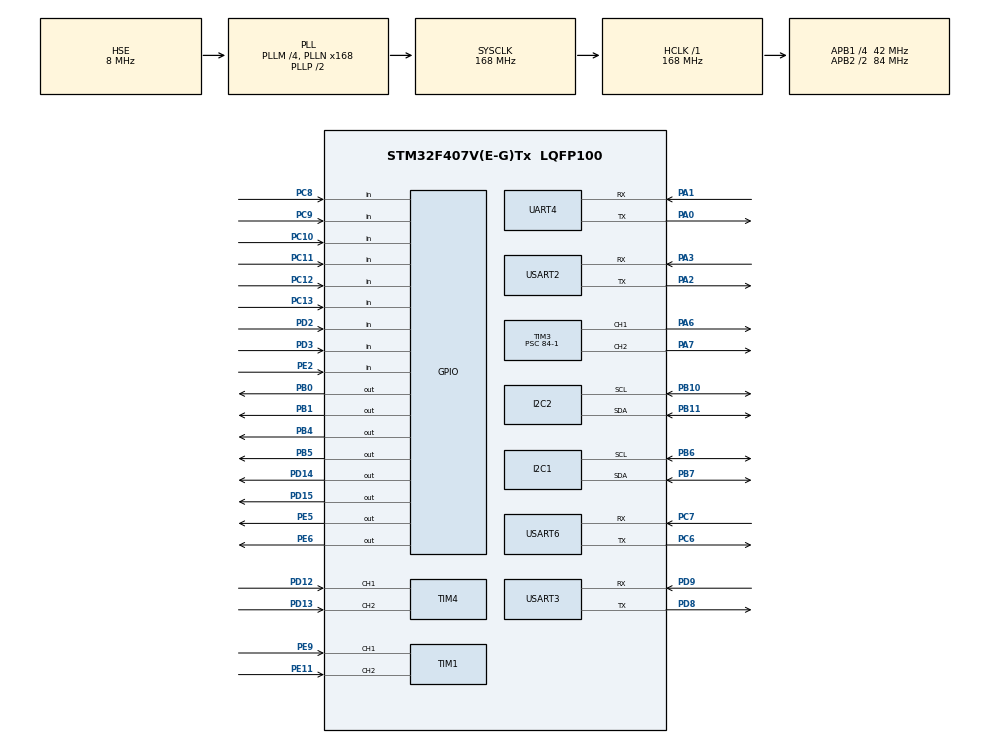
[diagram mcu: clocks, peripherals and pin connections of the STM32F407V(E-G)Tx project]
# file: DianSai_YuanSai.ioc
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I2C1.I2C_Mode=I2C_Standard
Mcu.Family=STM32F4
Mcu.Name=STM32F407V(E-G)Tx
Mcu.Package=LQFP100
NVIC.PriorityGroup=NVIC_PRIORITYGROUP_4
NVIC.TIM2_IRQn=true\:0\:0\:false\:false\:true\:true\:true\:true
PA0-WKUP.Mode=Asynchronous
PA0-WKUP.Signal=UART4_TX
PA1.Mode=Asynchronous
PA1.Signal=UART4_RX
PA13.Mode=Serial_Wire
PA13.Signal=SYS_JTMS-SWDIO
PA14.Mode=Serial_Wire
PA14.Signal=SYS_JTCK-SWCLK
PA2.Mode=Asynchronous
PA2.Signal=USART2_TX
PA3.Mode=Asynchronous
PA3.Signal=USART2_RX
PA6.GPIO_ModeDefaultPP=GPIO_MODE_AF_PP
PA6.GPIO_PuPd=GPIO_PULLUP
PA6.GPIO_Speed=GPIO_SPEED_FREQ_VERY_HIGH
PA6.Signal=S_TIM3_CH1
PA7.GPIO_ModeDefaultPP=GPIO_MODE_AF_PP
PA7.GPIO_PuPd=GPIO_PULLUP
PA7.GPIO_Speed=GPIO_SPEED_FREQ_VERY_HIGH
PA7.Signal=S_TIM3_CH2
PB0.GPIO_ModeDefaultOutputPP=GPIO_MODE_OUTPUT_PP
PB0.GPIO_PuPd=GPIO_NOPULL
PB0.GPIO_Speed=GPIO_SPEED_FREQ_LOW
PB0.PinState=GPIO_PIN_RESET
PB0.Signal=GPIO_Output
PB1.GPIO_ModeDefaultOutputPP=GPIO_MODE_OUTPUT_PP
PB1.GPIO_PuPd=GPIO_NOPULL
PB1.GPIO_Speed=GPIO_SPEED_FREQ_LOW
PB1.PinState=GPIO_PIN_RESET
PB1.Signal=GPIO_Output
PB10.GPIO_Mode=GPIO_MODE_AF_OD
PB10.GPIO_Pu=GPIO_PULLUP
PB10.GPIO_Speed=GPIO_SPEED_FREQ_HIGH
PB10.Mode=I2C
PB10.Signal=I2C2_SCL
PB11.GPIO_Mode=GPIO_MODE_AF_OD
PB11.GPIO_Pu=GPIO_PULLUP
PB11.GPIO_Speed=GPIO_SPEED_FREQ_HIGH
PB11.Mode=I2C
PB11.Signal=I2C2_SDA
PB4.GPIO_ModeDefaultOutputPP=GPIO_MODE_OUTPUT_PP
PB4.GPIO_PuPd=GPIO_NOPULL
PB4.GPIO_Speed=GPIO_SPEED_FREQ_LOW
PB4.PinState=GPIO_PIN_RESET
PB4.Signal=GPIO_Output
PB5.GPIO_ModeDefaultOutputPP=GPIO_MODE_OUTPUT_PP
PB5.GPIO_PuPd=GPIO_NOPULL
PB5.GPIO_Speed=GPIO_SPEED_FREQ_LOW
PB5.PinState=GPIO_PIN_RESET
PB5.Signal=GPIO_Output
PB6.GPIO_Mode=GPIO_MODE_AF_OD
PB6.GPIO_Pu=GPIO_PULLUP
PB6.GPIO_Speed=GPIO_SPEED_FREQ_HIGH
PB6.Mode=I2C
PB6.Signal=I2C1_SCL
PB7.GPIO_Mode=GPIO_MODE_AF_OD
PB7.GPIO_Pu=GPIO_PULLUP
PB7.GPIO_Speed=GPIO_SPEED_FREQ_HIGH
PB7.Mode=I2C
PB7.Signal=I2C1_SDA
PC10.GPIO_Mode=GPIO_MODE_INPUT
PC10.GPIO_PuPd=GPIO_PULLUP
PC10.Signal=GPIO_Input
PC11.GPIO_Mode=GPIO_MODE_INPUT
PC11.GPIO_PuPd=GPIO_PULLUP
PC11.Signal=GPIO_Input
PC12.GPIO_Mode=GPIO_MODE_INPUT
PC12.GPIO_PuPd=GPIO_PULLUP
PC12.Signal=GPIO_Input
PC13-ANTI_TAMP.GPIO_Mode=GPIO_MODE_INPUT
PC13-ANTI_TAMP.GPIO_PuPd=GPIO_PULLUP
PC13-ANTI_TAMP.Signal=GPIO_Input
PC14-OSC32_IN.Mode=LSE-External-Oscillator
PC14-OSC32_IN.Signal=RCC_OSC32_IN
PC15-OSC32_OUT.Mode=LSE-External-Oscillator
PC15-OSC32_OUT.Signal=RCC_OSC32_OUT
PC6.Mode=Asynchronous
PC6.Signal=USART6_TX
PC7.Mode=Asynchronous
PC7.Signal=USART6_RX
PC8.GPIO_Mode=GPIO_MODE_INPUT
PC8.GPIO_PuPd=GPIO_PULLUP
PC8.Signal=GPIO_Input
PC9.GPIO_Mode=GPIO_MODE_INPUT
PC9.GPIO_PuPd=GPIO_PULLUP
PC9.Signal=GPIO_Input
PD12.GPIO_ModeDefaultPP=GPIO_MODE_AF_PP
PD12.GPIO_PuPd=GPIO_PULLUP
PD12.GPIO_Speed=GPIO_SPEED_FREQ_VERY_HIGH
PD12.Signal=S_TIM4_CH1
PD13.GPIO_ModeDefaultPP=GPIO_MODE_AF_PP
PD13.GPIO_PuPd=GPIO_PULLUP
PD13.GPIO_Speed=GPIO_SPEED_FREQ_VERY_HIGH
PD13.Signal=S_TIM4_CH2
PD14.Signal=GPIO_Output
PD15.Signal=GPIO_Output
PD2.GPIO_Mode=GPIO_MODE_INPUT
PD2.GPIO_PuPd=GPIO_PULLUP
PD2.Signal=GPIO_Input
PD3.GPIO_Mode=GPIO_MODE_INPUT
PD3.GPIO_PuPd=GPIO_PULLUP
PD3.Signal=GPIO_Input
PD8.Mode=Asynchronous
PD8.Signal=USART3_TX
PD9.Mode=Asynchronous
PD9.Signal=USART3_RX
PE11.GPIO_ModeDefaultPP=GPIO_MODE_AF_PP
PE11.GPIO_PuPd=GPIO_PULLUP
PE11.GPIO_Speed=GPIO_SPEED_FREQ_VERY_HIGH
PE11.Signal=S_TIM1_CH2
PE2.GPIO_PuPd=GPIO_PULLUP
PE2.Signal=GPIO_Input
PE5.Signal=GPIO_Output
PE6.Signal=GPIO_Output
PE9.GPIO_ModeDefaultPP=GPIO_MODE_AF_PP
PE9.GPIO_PuPd=GPIO_PULLUP
PE9.GPIO_Speed=GPIO_SPEED_FREQ_VERY_HIGH
PE9.Signal=S_TIM1_CH1
PH0-OSC_IN.Mode=HSE-External-Oscillator
PH0-OSC_IN.Signal=RCC_OSC_IN
PH1-OSC_OUT.Mode=HSE-External-Oscillator
PH1-OSC_OUT.Signal=RCC_OSC_OUT
ProjectManager.HeapSize=0x200
ProjectManager.StackSize=0x400
ProjectManager.TargetToolchain=MDK-ARM V5.32
RCC.48MHZClocksFreq_Value=84000000
RCC.AHBFreq_Value=168000000
RCC.APB1CLKDivider=RCC_HCLK_DIV4
RCC.APB1Freq_Value=42000000
RCC.APB1TimFreq_Value=84000000
RCC.APB2CLKDivider=RCC_HCLK_DIV2
RCC.APB2Freq_Value=84000000
RCC.APB2TimFreq_Value=168000000
RCC.CortexFreq_Value=168000000
RCC.HCLKFreq_Value=168000000
RCC.HSE_VALUE=8000000
RCC.HSI_VALUE=16000000
RCC.PLLM=4
RCC.PLLN=168
RCC.PLLSourceVirtual=RCC_PLLSOURCE_HSE
RCC.SYSCLKFreq_VALUE=168000000
RCC.SYSCLKSource=RCC_SYSCLKSOURCE_PLLCLK
RCC.VCOOutputFreq_Value=336000000
SH.S_TIM1_CH1.0=TIM1_CH1,Encoder_Interface
SH.S_TIM1_CH2.0=TIM1_CH2,Encoder_Interface
SH.S_TIM3_CH1.0=TIM3_CH1,PWM Generation1 CH1
SH.S_TIM3_CH2.0=TIM3_CH2,PWM Generation2 CH2
SH.S_TIM4_CH1.0=TIM4_CH1,Encoder_Interface
SH.S_TIM4_CH2.0=TIM4_CH2,Encoder_Interface
TIM1.EncoderMode=TIM_ENCODERMODE_TI12
TIM2.Period=50-1
TIM2.Prescaler=8400-1
TIM3.Channel-PWM\ Generation1\ CH1=TIM_CHANNEL_1
TIM3.Channel-PWM\ Generation2\ CH2=TIM_CHANNEL_2
TIM3.Period=1000-1
TIM3.Prescaler=84-1
TIM4.EncoderMode=TIM_ENCODERMODE_TI12
UART4.VirtualMode=Asynchronous
USART2.VirtualMode=VM_ASYNC
USART3.VirtualMode=VM_ASYNC
USART6.VirtualMode=VM_ASYNC
VP_TIM2_VS_ClockSourceINT.Mode=Internal
VP_TIM3_VS_ClockSourceINT.Mode=Internal
board=custom

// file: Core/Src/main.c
/* USER CODE BEGIN Header */
/**
  ******************************************************************************
  * @file           : main.c
  * @brief          : Main program body
  ******************************************************************************
  * @attention
  *
  * Copyright (c) 2026 STMicroelectronics.
  * All rights reserved.
  *
  * This software is licensed under terms that can be found in the LICENSE file
  * in the root directory of this software component.
  * If no LICENSE file comes with this software, it is provided AS-IS.
  *
  ******************************************************************************
  */
/* USER CODE END Header */
#include "main.h"
#include "i2c.h"
#include "tim.h"
#include "usart.h"
#include "gpio.h"

/* USER CODE BEGIN Includes */
#include "headfile.h"
/* USER CODE END Includes */

/* USER CODE BEGIN PD */

/* 调试开关：下面几个测试宏全为0时，运行正常比赛赛道模式。 */
#define TEST_TARGET_YAW 100.0f          /* ANGLE_HOLD_TEST使用的目标角度 */
#define GY87_DATA_DEBUG_TEST 0          /* 1=只显示GY87姿态/磁力计调试数据 */
#define ANGLE_HOLD_TEST 0               /* 1=角度环定点测试 */
#define MOTOR_PID_DEBUG_TEST 0          /* 1=电机PID阶跃测试 */
#define MOTOR_PID_DEBUG_STEP_TICKS 400U /* 电机PID测试每个目标保持周期 */
#define MOTOR_DIRECT_TEST 0             /* 1=绕过赛道状态机，直接给左右轮速度 */
#define MOTOR_DIRECT_SPEED_A 8.0f       /* MOTOR_DIRECT_TEST左轮速度 */
#define MOTOR_DIRECT_SPEED_B 8.0f       /* MOTOR_DIRECT_TEST右轮速度 */

/* USER CODE END PD */

/* USER CODE BEGIN PV */
volatile int16_t Speed = 20;	//编码器测速测试变量
	  static uint8_t test_cnt = 0;
volatile uint8_t Debug_Print_Flag = 0;
volatile int16_t Location = 0;
uint16_t Temp = 0;
uint8_t Key_Status = 0;
#if MOTOR_PID_DEBUG_TEST
static uint16_t MotorPidDebugCnt = 0;
static uint8_t MotorPidDebugIndex = 0;
static const float MotorPidDebugTargets[4][2] =
{
	{8.0f, 0.0f},
	{0.0f, 8.0f},
	{14.0f, 14.0f},
	{0.0f, 0.0f}
};
#endif
/* USER CODE END PV */

void SystemClock_Config(void);

int main(void)
{

  /* MCU Configuration--------------------------------------------------------*/

  /* Reset of all peripherals, Initializes the Flash interface and the Systick. */
  HAL_Init();

  /* Configure the system clock */
  SystemClock_Config();

  /* Initialize all configured peripherals */
  MX_GPIO_Init();
  MX_TIM3_Init();
  MX_TIM1_Init();
  MX_TIM4_Init();
  MX_I2C1_Init();
  MX_I2C2_Init();
  MX_UART4_Init();
  MX_USART2_UART_Init();
  MX_USART3_UART_Init();
  MX_USART6_UART_Init();
  MX_TIM2_Init();
  /* USER CODE BEGIN 2 */
	OLED_Init();
	HAL_TIM_PWM_Start(&htim3, TIM_CHANNEL_1);
	HAL_TIM_PWM_Start(&htim3, TIM_CHANNEL_2);
	HAL_TIM_Encoder_Start(&htim4, TIM_CHANNEL_ALL);
	HAL_TIM_Encoder_Start(&htim1, TIM_CHANNEL_ALL);
//	MotorA.Kp = 3.0;
//	MotorA.Ki = 0.1;
//	MotorA.Kd = 0;
	GY87_Init();
	PID_SET(&MotorA, 95.0, 1.5, 0.0);//95.0, 1.5, 0.0
	PID_SET(&MotorB, 95.0, 1.5, 0.0);
	Angle_ResetController();
	Motor_Stop();
	HAL_TIM_Base_Start_IT(&htim2);

  /* USER CODE END 2 */

  /* Infinite loop */
  /* USER CODE BEGIN WHILE */
  while (1)
  {
	  (void)GY87_Update();

	  if(Debug_Print_Flag)
	  {
		  Debug_Print_Flag = 0;
#if GY87_DATA_DEBUG_TEST
		  OLED_GY87_Data_Debug();
#elif ANGLE_HOLD_TEST
		  OLED_Angle_Debug(TEST_TARGET_YAW);
#elif MOTOR_PID_DEBUG_TEST
		  OLED_MotorPid_Debug();
#else
		  OLED_Tracing_Run_Display();
#endif
	  }

//	  OLED_Tracing_Debug();
//	  Normal_Tracing();
    /* USER CODE END WHILE */

  }
}

void SystemClock_Config(void)
{
  RCC_OscInitTypeDef RCC_OscInitStruct = {0};
  RCC_ClkInitTypeDef RCC_ClkInitStruct = {0};

  /** Configure the main internal regulator output voltage
  */
  __HAL_RCC_PWR_CLK_ENABLE();
  __HAL_PWR_VOLTAGESCALING_CONFIG(PWR_REGULATOR_VOLTAGE_SCALE1);

  /** Initializes the RCC Oscillators according to the specified parameters
  * in the RCC_OscInitTypeDef structure.
  */
  RCC_OscInitStruct.OscillatorType = RCC_OSCILLATORTYPE_HSE;
  RCC_OscInitStruct.HSEState = RCC_HSE_ON;
  RCC_OscInitStruct.PLL.PLLState = RCC_PLL_ON;
  RCC_OscInitStruct.PLL.PLLSource = RCC_PLLSOURCE_HSE;
  RCC_OscInitStruct.PLL.PLLM = 4;
  RCC_OscInitStruct.PLL.PLLN = 168;
  RCC_OscInitStruct.PLL.PLLP = RCC_PLLP_DIV2;
  RCC_OscInitStruct.PLL.PLLQ = 4;
  if (HAL_RCC_OscConfig(&RCC_OscInitStruct) != HAL_OK)
  {
    Error_Handler();
  }

  /** Initializes the CPU, AHB and APB buses clocks
  */
  RCC_ClkInitStruct.ClockType = RCC_CLOCKTYPE_HCLK|RCC_CLOCKTYPE_SYSCLK
                              |RCC_CLOCKTYPE_PCLK1|RCC_CLOCKTYPE_PCLK2;
  RCC_ClkInitStruct.SYSCLKSource = RCC_SYSCLKSOURCE_PLLCLK;
  RCC_ClkInitStruct.AHBCLKDivider = RCC_SYSCLK_DIV1;
  RCC_ClkInitStruct.APB1CLKDivider = RCC_HCLK_DIV4;
  RCC_ClkInitStruct.APB2CLKDivider = RCC_HCLK_DIV2;

  if (HAL_RCC_ClockConfig(&RCC_ClkInitStruct, FLASH_LATENCY_5) != HAL_OK)
  {
    Error_Handler();
  }
}

/* USER CODE BEGIN 4 */
void HAL_TIM_PeriodElapsedCallback(TIM_HandleTypeDef *htim)
{
	if(htim->Instance == TIM2)
  {

#if ANGLE_HOLD_TEST
	Angle_Hold(TEST_TARGET_YAW);
#elif MOTOR_PID_DEBUG_TEST
	Motor_SetSpeed(MotorPidDebugTargets[MotorPidDebugIndex][0],
	               MotorPidDebugTargets[MotorPidDebugIndex][1]);

	MotorPidDebugCnt++;

	if(MotorPidDebugCnt >= MOTOR_PID_DEBUG_STEP_TICKS)
	{
		MotorPidDebugCnt = 0;
		MotorPidDebugIndex++;

		if(MotorPidDebugIndex >= 4U)
		{
			MotorPidDebugIndex = 0;
		}
	}
#else
#if MOTOR_DIRECT_TEST
	Motor_SetSpeed(MOTOR_DIRECT_SPEED_A, MOTOR_DIRECT_SPEED_B);
#else
	Tracing_Button_Update();
	Tracing_Mode_Select(Tracing_GetActiveMode());
#endif
#endif
	  Motor_Pid();
	test_cnt++;

	if(test_cnt == 100)
	{
		Debug_Print_Flag = 1;
		test_cnt = 0;
	}

  }
}

/* USER CODE END 4 */

void Error_Handler(void)
{
  __disable_irq();
  while (1)
  {
  }
}
